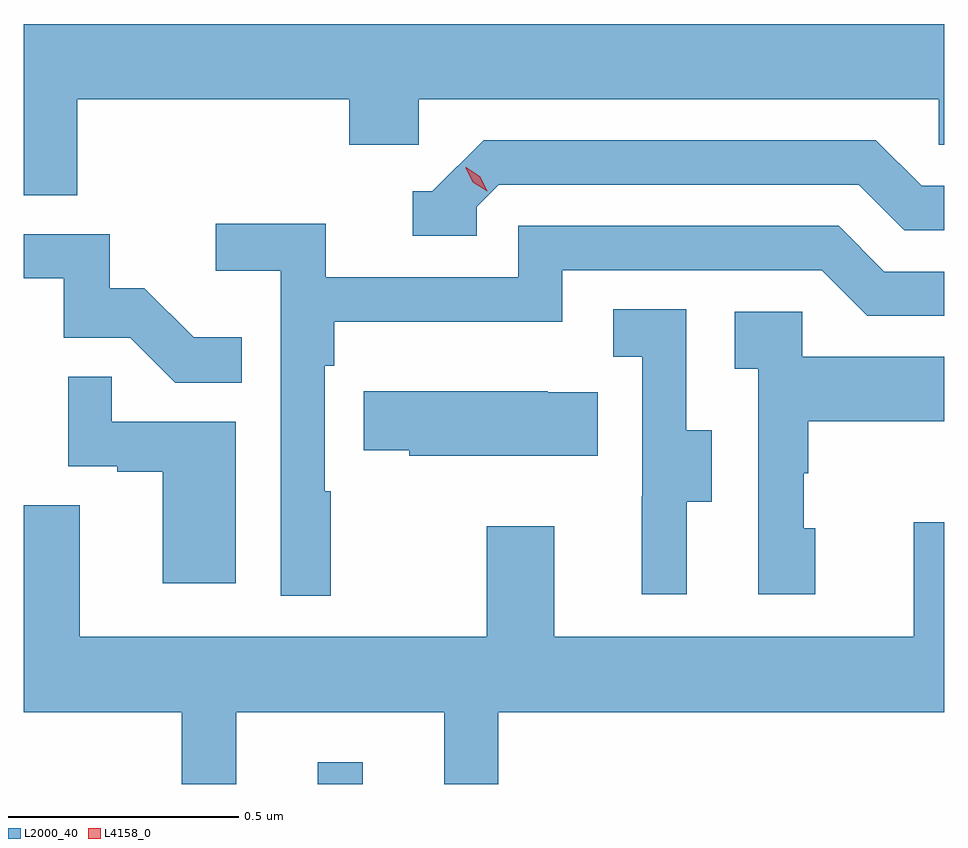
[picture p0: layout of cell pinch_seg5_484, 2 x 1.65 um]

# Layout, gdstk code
import gdstk
lib = gdstk.Library(unit=1e-6, precision=1e-09)
def R(c, l, rs):  # rectangles x0, y0, x1, y1
    for r in rs: c.add(gdstk.rectangle(r[:2], r[2:], *l))
def P(c, l, *ps):  # polygons
    for p in ps: c.add(gdstk.Polygon(p, *l))
L2000_40 = (2000, 40)
L4158_0 = (4158, 0)

pinch_seg5_484 = lib.new_cell('pinch_seg5_484')
R(pinch_seg5_484, L2000_40, [(924.477,845.948,924.574,845.995)])
P(pinch_seg5_484, L2000_40, [(923.838,847.228),(923.954,847.228),(923.954,847.436),(924.545,847.436),(924.545,847.338),(924.696,847.338),(924.696,847.436),(925.827,847.436),(925.827,847.338),(925.838,847.338),(925.838,847.6),(923.838,847.6)],
  [(924.822,847.203),(924.87,847.251),(925.653,847.251),(925.752,847.152),(925.838,847.152),(925.838,847.248),(925.789,847.248),(925.69,847.347),(924.837,847.347),(924.726,847.236),(924.683,847.236),(924.683,847.14),(924.822,847.14)],
  [(924.505,846.584),(924.492,846.584),(924.492,846.857),(924.512,846.857),(924.512,846.953),(925.008,846.953),(925.008,847.065),(925.572,847.065),(925.671,846.966),(925.838,846.966),(925.838,847.062),(925.708,847.062),(925.609,847.161),(924.912,847.161),(924.912,847.05),(924.494,847.05),(924.494,847.166),(924.255,847.166),(924.255,847.064),(924.396,847.064),(924.396,846.357),(924.505,846.357)],
  [(924.311,846.919),(924.207,846.919),(924.1,847.026),(924.024,847.026),(924.024,847.143),(923.838,847.143),(923.838,847.047),(923.925,847.047),(923.925,846.918),(924.069,846.918),(924.167,846.82),(924.311,846.82)],
  [(925.279,846.562),(925.333,846.562),(925.333,846.717),(925.278,846.717),(925.278,846.98),(925.119,846.98),(925.119,846.877),(925.182,846.877),(925.182,846.573),(925.181,846.573),(925.181,846.36),(925.279,846.36)],
  [(925.558,846.504),(925.533,846.504),(925.533,846.623),(925.543,846.623),(925.543,846.737),(925.838,846.737),(925.838,846.877),(925.53,846.877),(925.53,846.975),(925.383,846.975),(925.383,846.851),(925.434,846.851),(925.434,846.36),(925.558,846.36)],
  [(924.298,846.735),(924.029,846.735),(924.029,846.833),(923.934,846.833),(923.934,846.639),(924.041,846.639),(924.041,846.627),(924.14,846.627),(924.14,846.384),(924.298,846.384)],
  [(925.085,846.799),(924.977,846.799),(924.977,846.802),(924.577,846.802),(924.577,846.673),(924.675,846.673),(924.675,846.662),(925.085,846.662)],
  [(924.299,846.104),(924.752,846.104),(924.752,845.948),(924.869,845.948),(924.869,846.104),(925.838,846.104),(925.838,846.517),(925.772,846.517),(925.772,846.268),(924.991,846.268),(924.991,846.508),(924.844,846.508),(924.844,846.268),(923.959,846.268),(923.959,846.554),(923.838,846.554),(923.838,846.104),(924.181,846.104),(924.181,845.948),(924.299,845.948)])
P(pinch_seg5_484, L4158_0, [(924.845,847.236),(924.814,847.256),(924.798,847.288),(924.798,847.289),(924.799,847.289),(924.829,847.269),(924.845,847.237),(924.845,847.236)])

lib.write_gds('pinch_seg5_484.gds')
